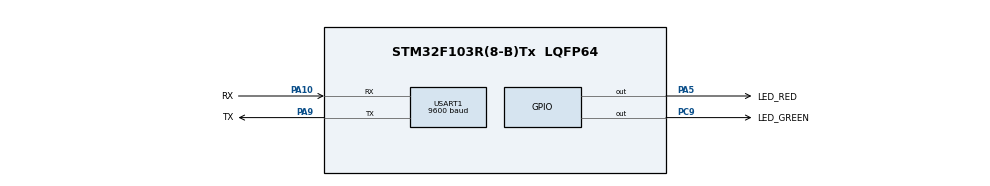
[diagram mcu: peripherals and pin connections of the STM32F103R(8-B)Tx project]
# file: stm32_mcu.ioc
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Mcu.Family=STM32F1
Mcu.Name=STM32F103R(8-B)Tx
Mcu.Package=LQFP64
NVIC.PriorityGroup=NVIC_PRIORITYGROUP_4
NVIC.TIM2_IRQn=true\:0\:0\:false\:false\:true\:true\:true\:true
NVIC.USART1_IRQn=true\:1\:0\:true\:false\:true\:true\:true\:true
PA10.GPIO_Label=RX
PA10.GPIO_PuPd=GPIO_PULLUP
PA10.Mode=Asynchronous
PA10.Signal=USART1_RX
PA13.Mode=Serial_Wire
PA13.Signal=SYS_JTMS-SWDIO
PA14.Mode=Serial_Wire
PA14.Signal=SYS_JTCK-SWCLK
PA5.GPIO_Label=LED_RED
PA5.Signal=GPIO_Output
PA9.GPIO_Label=TX
PA9.Mode=Asynchronous
PA9.Signal=USART1_TX
PC9.GPIO_Label=LED_GREEN
PC9.Signal=GPIO_Output
ProjectManager.HeapSize=0x200
ProjectManager.StackSize=0x400
ProjectManager.TargetToolchain=STM32CubeIDE
RCC.APB1Freq_Value=8000000
RCC.APB2Freq_Value=8000000
TIM2.Period=9
TIM2.Prescaler=7999
USART1.BaudRate=9600
USART1.VirtualMode=VM_ASYNC
VP_TIM2_VS_ClockSourceINT.Mode=Internal
board=custom

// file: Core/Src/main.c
/* USER CODE BEGIN Header */
/**
  ******************************************************************************
  * @file           : main.c
  * @brief          : Main program body
  ******************************************************************************
  * @attention
  *
  * <h2><center>&copy; Copyright (c) 2023 STMicroelectronics.
  * All rights reserved.</center></h2>
  *
  * This software component is licensed by ST under BSD 3-Clause license,
  * the "License"; You may not use this file except in compliance with the
  * License. You may obtain a copy of the License at:
  *                        opensource.org/licenses/BSD-3-Clause
  *
  ******************************************************************************
  */
/* USER CODE END Header */
#include "main.h"
#include "scheduler.h"
#include "string.h"

TIM_HandleTypeDef htim2;

UART_HandleTypeDef huart1;

void SystemClock_Config(void);
static void MX_GPIO_Init(void);
static void MX_TIM2_Init(void);
static void MX_USART1_UART_Init(void);

/* USER CODE BEGIN 0 */
uint8_t *pTxData = (uint8_t *)"testuart\n";
uint8_t RxData;
uint8_t data_buffer[100];
uint32_t count = 0;

void transmitUART() {
	HAL_UART_Transmit(&huart1, &pTxData[0], strlen((char*)(pTxData)), HAL_MAX_DELAY);
	HAL_GPIO_TogglePin(LED_RED_GPIO_Port, LED_RED_Pin);
}

void displayLedPC9() {
	HAL_GPIO_TogglePin(LED_GREEN_GPIO_Port, LED_GREEN_Pin);
}

void HAL_UART_RxCpltCallback ( UART_HandleTypeDef * huart ) {
	if (huart->Instance == USART1) {
		if(RxData == '\n') {
			data_buffer[count++] = '\n';
			HAL_UART_Transmit(&huart1, data_buffer, count, HAL_MAX_DELAY);
			memset(data_buffer, 0, count);
		}
		else {
			data_buffer[count++] = RxData;
		}
		HAL_UART_Receive_IT(&huart1, &RxData, 1);
	}
}

/* USER CODE END 0 */

int main(void)
{

  /* MCU Configuration--------------------------------------------------------*/

  /* Reset of all peripherals, Initializes the Flash interface and the Systick. */
  HAL_Init();

  /* Configure the system clock */
  SystemClock_Config();

  /* Initialize all configured peripherals */
  MX_GPIO_Init();
  MX_TIM2_Init();
  MX_USART1_UART_Init();
  /* USER CODE BEGIN 2 */
  HAL_TIM_Base_Start_IT(&htim2);

  HAL_UART_Receive_IT(&huart1, &RxData, 1);

  SCH_Add_Task(transmitUART, 100, 2000);
  SCH_Add_Task(displayLedPC9, 100, 100);
  /* USER CODE END 2 */

  /* Infinite loop */
  while (1)
  {
	  SCH_Execute_Tasks();
  }
}

void SystemClock_Config(void)
{
  RCC_OscInitTypeDef RCC_OscInitStruct = {0};
  RCC_ClkInitTypeDef RCC_ClkInitStruct = {0};

  /** Initializes the RCC Oscillators according to the specified parameters
  * in the RCC_OscInitTypeDef structure.
  */
  RCC_OscInitStruct.OscillatorType = RCC_OSCILLATORTYPE_HSI;
  RCC_OscInitStruct.HSIState = RCC_HSI_ON;
  RCC_OscInitStruct.HSICalibrationValue = RCC_HSICALIBRATION_DEFAULT;
  RCC_OscInitStruct.PLL.PLLState = RCC_PLL_NONE;
  if (HAL_RCC_OscConfig(&RCC_OscInitStruct) != HAL_OK)
  {
    Error_Handler();
  }

  /** Initializes the CPU, AHB and APB buses clocks
  */
  RCC_ClkInitStruct.ClockType = RCC_CLOCKTYPE_HCLK|RCC_CLOCKTYPE_SYSCLK
                              |RCC_CLOCKTYPE_PCLK1|RCC_CLOCKTYPE_PCLK2;
  RCC_ClkInitStruct.SYSCLKSource = RCC_SYSCLKSOURCE_HSI;
  RCC_ClkInitStruct.AHBCLKDivider = RCC_SYSCLK_DIV1;
  RCC_ClkInitStruct.APB1CLKDivider = RCC_HCLK_DIV1;
  RCC_ClkInitStruct.APB2CLKDivider = RCC_HCLK_DIV1;

  if (HAL_RCC_ClockConfig(&RCC_ClkInitStruct, FLASH_LATENCY_0) != HAL_OK)
  {
    Error_Handler();
  }
}

static void MX_TIM2_Init(void)
{

  TIM_ClockConfigTypeDef sClockSourceConfig = {0};
  TIM_MasterConfigTypeDef sMasterConfig = {0};

  htim2.Instance = TIM2;
  htim2.Init.Prescaler = 7999;
  htim2.Init.CounterMode = TIM_COUNTERMODE_UP;
  htim2.Init.Period = 9;
  htim2.Init.ClockDivision = TIM_CLOCKDIVISION_DIV1;
  htim2.Init.AutoReloadPreload = TIM_AUTORELOAD_PRELOAD_DISABLE;
  if (HAL_TIM_Base_Init(&htim2) != HAL_OK)
  {
    Error_Handler();
  }
  sClockSourceConfig.ClockSource = TIM_CLOCKSOURCE_INTERNAL;
  if (HAL_TIM_ConfigClockSource(&htim2, &sClockSourceConfig) != HAL_OK)
  {
    Error_Handler();
  }
  sMasterConfig.MasterOutputTrigger = TIM_TRGO_RESET;
  sMasterConfig.MasterSlaveMode = TIM_MASTERSLAVEMODE_DISABLE;
  if (HAL_TIMEx_MasterConfigSynchronization(&htim2, &sMasterConfig) != HAL_OK)
  {
    Error_Handler();
  }

}

static void MX_USART1_UART_Init(void)
{

  huart1.Instance = USART1;
  huart1.Init.BaudRate = 9600;
  huart1.Init.WordLength = UART_WORDLENGTH_8B;
  huart1.Init.StopBits = UART_STOPBITS_1;
  huart1.Init.Parity = UART_PARITY_NONE;
  huart1.Init.Mode = UART_MODE_TX_RX;
  huart1.Init.HwFlowCtl = UART_HWCONTROL_NONE;
  huart1.Init.OverSampling = UART_OVERSAMPLING_16;
  if (HAL_UART_Init(&huart1) != HAL_OK)
  {
    Error_Handler();
  }

}

static void MX_GPIO_Init(void)
{
  GPIO_InitTypeDef GPIO_InitStruct = {0};

  /* GPIO Ports Clock Enable */
  __HAL_RCC_GPIOA_CLK_ENABLE();
  __HAL_RCC_GPIOC_CLK_ENABLE();

  /*Configure GPIO pin Output Level */
  HAL_GPIO_WritePin(LED_RED_GPIO_Port, LED_RED_Pin, GPIO_PIN_RESET);

  /*Configure GPIO pin Output Level */
  HAL_GPIO_WritePin(LED_GREEN_GPIO_Port, LED_GREEN_Pin, GPIO_PIN_RESET);

  /*Configure GPIO pin : LED_RED_Pin */
  GPIO_InitStruct.Pin = LED_RED_Pin;
  GPIO_InitStruct.Mode = GPIO_MODE_OUTPUT_PP;
  GPIO_InitStruct.Pull = GPIO_NOPULL;
  GPIO_InitStruct.Speed = GPIO_SPEED_FREQ_LOW;
  HAL_GPIO_Init(LED_RED_GPIO_Port, &GPIO_InitStruct);

  /*Configure GPIO pin : LED_GREEN_Pin */
  GPIO_InitStruct.Pin = LED_GREEN_Pin;
  GPIO_InitStruct.Mode = GPIO_MODE_OUTPUT_PP;
  GPIO_InitStruct.Pull = GPIO_NOPULL;
  GPIO_InitStruct.Speed = GPIO_SPEED_FREQ_LOW;
  HAL_GPIO_Init(LED_GREEN_GPIO_Port, &GPIO_InitStruct);

}

/* USER CODE BEGIN 4 */
void HAL_TIM_PeriodElapsedCallback(TIM_HandleTypeDef *htim) {
	SCH_Update();
}
/* USER CODE END 4 */

void Error_Handler(void)
{
  __disable_irq();
  while (1)
  {
  }
}
